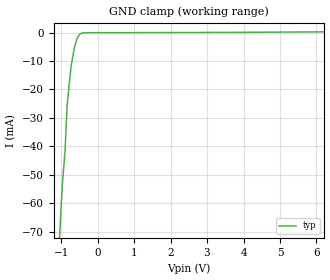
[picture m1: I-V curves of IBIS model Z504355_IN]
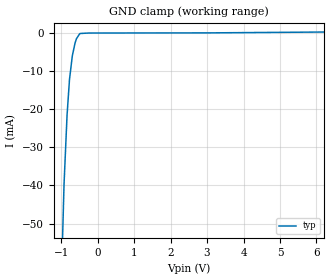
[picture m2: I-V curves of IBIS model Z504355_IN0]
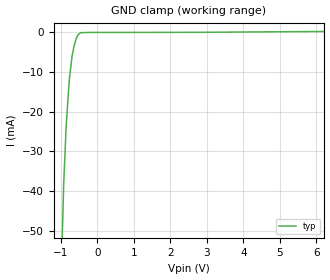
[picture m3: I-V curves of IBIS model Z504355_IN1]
| YOU ARE ONLY AUTHORIZED TO USE THIS SOFTWARE
| ACCORDING TO LICENSOR'S LICENSE RESTRICTIONS.
[IBIS Ver] 3.1
[File Name] mc26ls31d.ibs
[File Rev] 2.0
[Source] Measured and created by ICX Technology
[Date] Friday 7/14/00 9:08:13 AM
[Copyright]
| (C) COPYRIGHT 1993-2000
| MENTOR GRAPHICS CORPORATION
| ICX STANDARD LIBRARY, ICX PROJECT MODELING,
| ICX CUSTOM MODELING, ICX VENDOR MODEL
| ALL RIGHTS RESERVED.
| THE FOLLOWING ARE TRADEMARKS OR SERVICE MARKS OF
| MENTOR GRAPHICS CORPORATION:ICX (R), ICX STANDARD
| LIBRARY(R), ICX PROJECT MODELING(R), ICX CUSTOM
| MODELING(R), qualityIBIS(TM), MODELVIEWER(TM),
| AND MODELEDITOR(TM)
| ALL COPIES OF SOFTWARE, INCLUDING BUT NOT LIMITED TO
| ANY MODIFICATIONS, ENHANCEMENTS OR DERIVATIVE WORKS,
| MUST CONTAIN ALL MENTOR GRAPHICS CORPORATION'S
| NOTICES AND LEGENDS, INCLUDING THOSE EMBEDDED IN
| SOFTWARE AND THOSE AFFIXED TO SOFTWARE MEDIUM
| AND CONTAINER, AS RECEIVED FROM MENTOR GRAPHICS
| CORPORATION.
|  ZAP Model Builder 2.7
[Component] MC26LS31D
[Manufacturer] OnSemiconductor
[Package]
| variable   typ   min   max
R_pkg  .156ohms NA NA
L_pkg  3.148nH NA NA
C_pkg  .388pF NA NA
[Pin] signal_name  model_name  R_pin  L_pin C_pin
1 A_IN Z504355_IN .162 3.798n .418p
2 A_OUT Z504355_TRI .158 3.358n .398p
3 _A_OUT Z504355_TRI0 .154 2.928n .378p
4 E Z504355_IN0 .15 2.508n .358p
5 _B_OUT Z504355_TRI0 .15 2.508n .358p
6 B_OUT Z504355_TRI .154 2.928n .378p
7 B_IN Z504355_IN .158 3.358n .398p
8 GND GND .162 3.798n .418p
9 C_IN Z504355_IN .162 3.798n .418p
10 C_OUT Z504355_TRI .158 3.358n .398p
11 _C_OUT Z504355_TRI0 .154 2.928n .378p
12 _E Z504355_IN1 .15 2.508n .358p
13 _D_OUT Z504355_TRI0 .15 2.508n .358p
14 D_OUT Z504355_TRI .154 2.928n .378p
15 D_IN Z504355_IN .158 3.358n .398p
16 VCC POWER .162 3.798n .418p
| Models and submodels in the file (5): Z504355_IN (Input), Z504355_IN0 (Input), Z504355_IN1 (Input), Z504355_TRI (3-state), Z504355_TRI0 (3-state)
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| (C) COPYRIGHT 1993-2000
| MENTOR GRAPHICS CORPORATION
| ICX STANDARD LIBRARY, ICX PROJECT MODELING,
| ICX CUSTOM MODELING, ICX VENDOR MODEL
| ALL RIGHTS RESERVED.
| THE FOLLOWING ARE TRADEMARKS OR SERVICE MARKS OF
| MENTOR GRAPHICS CORPORATION:ICX (R), ICX STANDARD
| LIBRARY(R), ICX PROJECT MODELING(R), ICX CUSTOM
| MODELING(R), qualityIBIS(TM), MODELVIEWER(TM),
| AND MODELEDITOR(TM)
| ALL COPIES OF SOFTWARE, INCLUDING BUT NOT LIMITED TO
| ANY MODIFICATIONS, ENHANCEMENTS OR DERIVATIVE WORKS,
| MUST CONTAIN ALL MENTOR GRAPHICS CORPORATION'S
| NOTICES AND LEGENDS, INCLUDING THOSE EMBEDDED IN
| SOFTWARE AND THOSE AFFIXED TO SOFTWARE MEDIUM
| AND CONTAINER, AS RECEIVED FROM MENTOR GRAPHICS
| CORPORATION.
| Model Application Version 1.89 2/18/99.
[Model] Z504355_IN
Model_type Input
Vinl = 800.0mV
Vinh = 2.000V
C_comp 4.000pF NA NA
| variable typ   min   max
[Voltage Range] 5.000V NA NA
[GND Clamp Reference] 0.000V NA NA
[POWER Clamp Reference] 5.000V NA NA
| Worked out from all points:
|   GND clamp passes 1 mA (typ) near -0.51 V on its own axis
[GND Clamp]
-5V       -1.297A    NA         NA
-1.044V   -72.02mA   NA         NA
-966mV    -53.38mA   NA         NA
-894mV    -41.93mA   NA         NA
-833.4mV  -25.5mA    NA         NA
-729.7mV  -12.1mA    NA         NA
-634.1mV  -5.086mA   NA         NA
-540.5mV  -1.419mA   NA         NA
-477mV    -473uA     NA         NA
-419.3mV  -141.4uA   NA         NA
10V       523.8uA    NA         NA
[POWER Clamp]
-5V       0A         NA         NA
10V       0A         NA         NA
| (C) COPYRIGHT 1993-2000
| MENTOR GRAPHICS CORPORATION
| ICX STANDARD LIBRARY, ICX PROJECT MODELING,
| ICX CUSTOM MODELING, ICX VENDOR MODEL
| ALL RIGHTS RESERVED.
| THE FOLLOWING ARE TRADEMARKS OR SERVICE MARKS OF
| MENTOR GRAPHICS CORPORATION:ICX (R), ICX STANDARD
| LIBRARY(R), ICX PROJECT MODELING(R), ICX CUSTOM
| MODELING(R), qualityIBIS(TM), MODELVIEWER(TM),
| AND MODELEDITOR(TM)
| ALL COPIES OF SOFTWARE, INCLUDING BUT NOT LIMITED TO
| ANY MODIFICATIONS, ENHANCEMENTS OR DERIVATIVE WORKS,
| MUST CONTAIN ALL MENTOR GRAPHICS CORPORATION'S
| NOTICES AND LEGENDS, INCLUDING THOSE EMBEDDED IN
| SOFTWARE AND THOSE AFFIXED TO SOFTWARE MEDIUM
| AND CONTAINER, AS RECEIVED FROM MENTOR GRAPHICS
| CORPORATION.
| Model Application Version 1.89 2/18/99.
[Model] Z504355_IN0
Model_type Input
Vinl = 800.0mV
Vinh = 2.000V
C_comp 4.000pF NA NA
| variable typ   min   max
[Voltage Range] 5.000V NA NA
[GND Clamp Reference] 0.000V NA NA
[POWER Clamp Reference] 5.000V NA NA
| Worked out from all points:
|   GND clamp passes 1 mA (typ) near -0.54 V on its own axis
[GND Clamp]
-5V       -1.901A    NA         NA
-1.066V   -91.06mA   NA         NA
-920.4mV  -39.76mA   NA         NA
-837.7mV  -21.63mA   NA         NA
-769.9mV  -12.14mA   NA         NA
-692.3mV  -5.991mA   NA         NA
-618.4mV  -2.658mA   NA         NA
-579.8mV  -1.538mA   NA         NA
-477.9mV  -145.9uA   NA         NA
10V       501.6uA    NA         NA
[POWER Clamp]
-5V       0A         NA         NA
10V       0A         NA         NA
| (C) COPYRIGHT 1993-2000
| MENTOR GRAPHICS CORPORATION
| ICX STANDARD LIBRARY, ICX PROJECT MODELING,
| ICX CUSTOM MODELING, ICX VENDOR MODEL
| ALL RIGHTS RESERVED.
| THE FOLLOWING ARE TRADEMARKS OR SERVICE MARKS OF
| MENTOR GRAPHICS CORPORATION:ICX (R), ICX STANDARD
| LIBRARY(R), ICX PROJECT MODELING(R), ICX CUSTOM
| MODELING(R), qualityIBIS(TM), MODELVIEWER(TM),
| AND MODELEDITOR(TM)
| ALL COPIES OF SOFTWARE, INCLUDING BUT NOT LIMITED TO
| ANY MODIFICATIONS, ENHANCEMENTS OR DERIVATIVE WORKS,
| MUST CONTAIN ALL MENTOR GRAPHICS CORPORATION'S
| NOTICES AND LEGENDS, INCLUDING THOSE EMBEDDED IN
| SOFTWARE AND THOSE AFFIXED TO SOFTWARE MEDIUM
| AND CONTAINER, AS RECEIVED FROM MENTOR GRAPHICS
| CORPORATION.
| Model Application Version 1.89 2/18/99.
[Model] Z504355_IN1
Model_type Input
Vinl = 800.0mV
Vinh = 2.000V
C_comp 4.000pF NA NA
| variable typ   min   max
[Voltage Range] 5.000V NA NA
[GND Clamp Reference] 0.000V NA NA
[POWER Clamp Reference] 5.000V NA NA
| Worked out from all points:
|   GND clamp passes 1 mA (typ) near -0.55 V on its own axis
[GND Clamp]
-5V       -1.858A    NA         NA
-1.084V   -93.13mA   NA         NA
-922.1mV  -38.45mA   NA         NA
-854.6mV  -23.87mA   NA         NA
-769.3mV  -11.98mA   NA         NA
-692.8mV  -6.042mA   NA         NA
-636.1mV  -3.399mA   NA         NA
-579.6mV  -1.56mA    NA         NA
-541.6mV  -837.5uA   NA         NA
-459.9mV  -80.76uA   NA         NA
10V       466.3uA    NA         NA
[POWER Clamp]
-5V       0A         NA         NA
10V       0A         NA         NA
